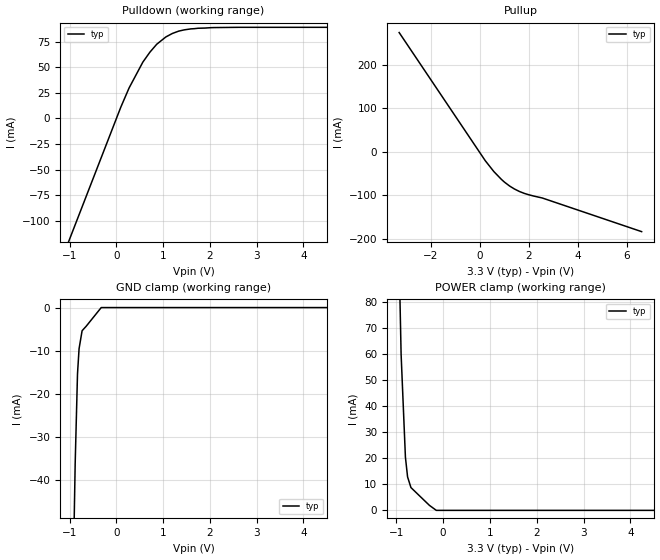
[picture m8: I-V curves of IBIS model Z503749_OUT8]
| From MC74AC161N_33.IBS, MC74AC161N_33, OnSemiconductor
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| (C) COPYRIGHT 1993-2000
| MENTOR GRAPHICS CORPORATION
| ICX STANDARD LIBRARY, ICX PROJECT MODELING,
| ICX CUSTOM MODELING, ICX VENDOR MODEL
| ALL RIGHTS RESERVED.
| THE FOLLOWING ARE TRADEMARKS OR SERVICE MARKS OF
| MENTOR GRAPHICS CORPORATION:ICX (R), ICX STANDARD
| LIBRARY(R), ICX PROJECT MODELING(R), ICX CUSTOM
| MODELING(R), qualityIBIS(TM), MODELVIEWER(TM),
| AND MODELEDITOR(TM)
| ALL COPIES OF SOFTWARE, INCLUDING BUT NOT LIMITED TO
| ANY MODIFICATIONS, ENHANCEMENTS OR DERIVATIVE WORKS,
| MUST CONTAIN ALL MENTOR GRAPHICS CORPORATION'S
| NOTICES AND LEGENDS, INCLUDING THOSE EMBEDDED IN
| SOFTWARE AND THOSE AFFIXED TO SOFTWARE MEDIUM
| AND CONTAINER, AS RECEIVED FROM MENTOR GRAPHICS
| CORPORATION.
| Model Application Version 1.89 2/18/99.
[Model] Z503749_OUT8
Model_type Output
Vref=0.000V
Rref=500.0ohms
Cref=50.00pF
Vmeas=1.650V
C_comp 8.000pF NA NA
| variable typ   min   max
[Voltage Range] 3.300V NA NA
[POWER Clamp Reference] 3.300V NA NA
[Pullup Reference] 3.300V NA NA
[Pulldown Reference] 0.000V NA NA
[GND Clamp Reference] 0.000V NA NA
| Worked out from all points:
|   slope of the pulldown table from 0 to 0.495 V, typ, clamps not added: 10.1 ohm
|   slope of the pullup table from 0 to 0.495 V, typ, clamps not added: 13.1 ohm
|   POWER clamp passes 1 mA (typ) near -0.22 V on its own axis
[GND Clamp]
-3.3V     -1.269A    NA         NA
-1.056V   -144.1mA   NA         NA
-878.8mV  -36.14mA   NA         NA
-829.3mV  -15.37mA   NA         NA
-795.7mV  -9.526mA   NA         NA
-731mV    -5.369mA   NA         NA
-644.3mV  -4.334mA   NA         NA
-322.1mV  0A         NA         NA
6.6V      0A         NA         NA
[Pulldown]
-3.3V     -389.1mA   NA         NA
94.83mV   10.85mA    NA         NA
273.5mV   29.8mA     NA         NA
567.3mV   55mA       NA         NA
717.7mV   64.7mA     NA         NA
864.6mV   72.49mA    NA         NA
1.059V    79.59mA    NA         NA
1.196V    82.95mA    NA         NA
1.334V    85.29mA    NA         NA
1.592V    87.45mA    NA         NA
2.085V    88.74mA    NA         NA
6.6V      88.99mA    NA         NA
[Pullup]
-3.3V     273.3mA    NA         NA
214mV     -20.14mA   NA         NA
567mV     -45.23mA   NA         NA
1V        -69.39mA   NA         NA
1.404V    -85.03mA   NA         NA
1.811V    -95.19mA   NA         NA
2.543V    -105.7mA   NA         NA
6.6V      -182.8mA   NA         NA
[POWER Clamp]
-3.3V     2.775A     NA         NA
-1.007V   152.8mA    NA         NA
-899mV    59.79mA    NA         NA
-807mV    20.39mA    NA         NA
-761mV    12.83mA    NA         NA
-689mV    8.739mA    NA         NA
-294mV    1.916mA    NA         NA
-147mV    0A         NA         NA
6.6V      0A         NA         NA
[Ramp]
| variable typ min max
dV/dt_r 1.948/302.5p NA NA
dV/dt_f 1.948/360.9p NA NA
R_load = 500.0Ohms
